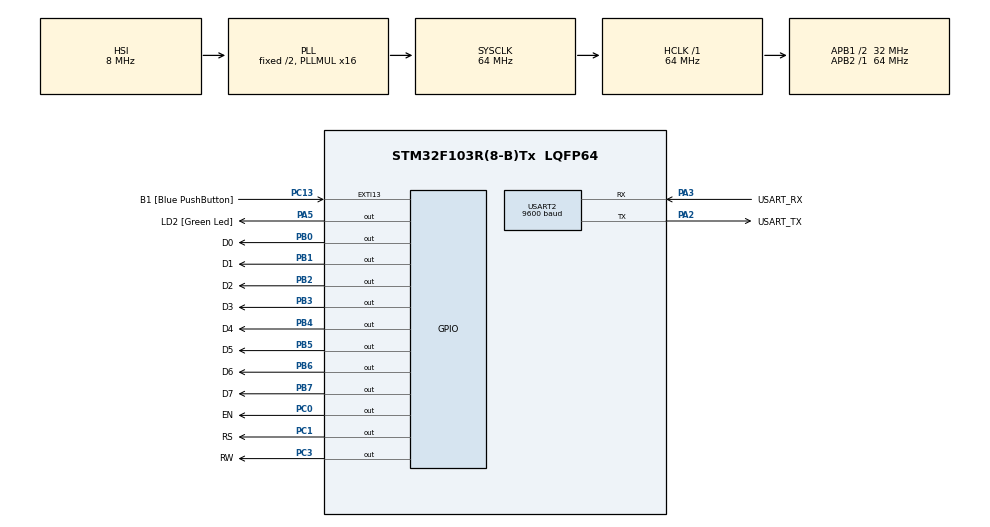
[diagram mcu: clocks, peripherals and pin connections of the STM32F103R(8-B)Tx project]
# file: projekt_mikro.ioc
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Mcu.Family=STM32F1
Mcu.Name=STM32F103R(8-B)Tx
Mcu.Package=LQFP64
NVIC.EXTI15_10_IRQn=true\:0\:0\:false\:false\:true\:true
NVIC.PriorityGroup=NVIC_PRIORITYGROUP_4
NVIC.USART2_IRQn=true\:0\:0\:false\:false\:true\:true
PA13.GPIO_Label=TMS
PA13.Mode=Serial_Wire
PA13.Signal=SYS_JTMS-SWDIO
PA14.GPIO_Label=TCK
PA14.Mode=Serial_Wire
PA14.Signal=SYS_JTCK-SWCLK
PA2.GPIO_Label=USART_TX
PA2.GPIO_Mode=GPIO_MODE_AF_PP
PA2.GPIO_PuPd=GPIO_NOPULL
PA2.GPIO_Speed=GPIO_SPEED_FREQ_LOW
PA2.Mode=Asynchronous
PA2.Signal=USART2_TX
PA3.GPIO_Label=USART_RX
PA3.GPIO_Mode=GPIO_MODE_AF_PP
PA3.GPIO_PuPd=GPIO_NOPULL
PA3.GPIO_Speed=GPIO_SPEED_FREQ_LOW
PA3.Mode=Asynchronous
PA3.Signal=USART2_RX
PA5.GPIO_Label=LD2 [Green Led]
PA5.GPIO_ModeDefaultOutputPP=GPIO_MODE_OUTPUT_PP
PA5.GPIO_PuPd=GPIO_NOPULL
PA5.GPIO_Speed=GPIO_SPEED_FREQ_LOW
PA5.Signal=GPIO_Output
PB0.GPIO_Label=D0
PB0.Signal=GPIO_Output
PB1.GPIO_Label=D1
PB1.Signal=GPIO_Output
PB2.GPIO_Label=D2
PB2.Signal=GPIO_Output
PB3.GPIO_Label=D3
PB3.GPIO_Speed=GPIO_SPEED_FREQ_HIGH
PB3.Signal=GPIO_Output
PB4.GPIO_Label=D4
PB4.GPIO_Speed=GPIO_SPEED_FREQ_HIGH
PB4.Signal=GPIO_Output
PB5.GPIO_Label=D5
PB5.GPIO_Speed=GPIO_SPEED_FREQ_HIGH
PB5.Signal=GPIO_Output
PB6.GPIO_Label=D6
PB6.GPIO_Speed=GPIO_SPEED_FREQ_HIGH
PB6.Signal=GPIO_Output
PB7.GPIO_Label=D7
PB7.Signal=GPIO_Output
PC0.GPIO_Label=EN
PC0.Signal=GPIO_Output
PC1.GPIO_Label=RS
PC1.Signal=GPIO_Output
PC13-TAMPER-RTC.GPIO_Label=B1 [Blue PushButton]
PC13-TAMPER-RTC.GPIO_PuPd=GPIO_NOPULL
PC13-TAMPER-RTC.Signal=GPXTI13
PC14-OSC32_IN.Mode=LSE-External-Oscillator
PC14-OSC32_IN.Signal=RCC_OSC32_IN
PC15-OSC32_OUT.Mode=LSE-External-Oscillator
PC15-OSC32_OUT.Signal=RCC_OSC32_OUT
PC3.GPIO_Label=RW
PC3.Signal=GPIO_Output
PD0-OSC_IN.Mode=HSE-External-Clock-Source
PD0-OSC_IN.Signal=RCC_OSC_IN
PD1-OSC_OUT.Mode=HSE-External-Clock-Source
PD1-OSC_OUT.Signal=RCC_OSC_OUT
ProjectManager.HeapSize=0x200
ProjectManager.StackSize=0x400
ProjectManager.TargetToolchain=SW4STM32
RCC.AHBFreq_Value=64000000
RCC.APB1CLKDivider=RCC_HCLK_DIV2
RCC.APB1Freq_Value=32000000
RCC.APB1TimFreq_Value=64000000
RCC.APB2Freq_Value=64000000
RCC.APB2TimFreq_Value=64000000
RCC.HCLKFreq_Value=64000000
RCC.PLLMUL=RCC_PLL_MUL16
RCC.RTCClockSelection=RCC_RTCCLKSOURCE_LSE
RCC.SYSCLKFreq_VALUE=64000000
RCC.SYSCLKSource=RCC_SYSCLKSOURCE_PLLCLK
RCC.USBFreq_Value=64000000
USART2.BaudRate=9600
USART2.VirtualMode=VM_ASYNC
board=NUCLEO-F103RB

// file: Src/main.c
/**
  ******************************************************************************
  * @file           : main.c
  * @brief          : Main program body
  ******************************************************************************
  ** This notice applies to any and all portions of this file
  * that are not between comment pairs USER CODE BEGIN and
  * USER CODE END. Other portions of this file, whether
  * inserted by the user or by software development tools
  * are owned by their respective copyright owners.
  *
  * COPYRIGHT(c) 2019 STMicroelectronics
  *
  * Redistribution and use in source and binary forms, with or without modification,
  * are permitted provided that the following conditions are met:
  *   1. Redistributions of source code must retain the above copyright notice,
  *      this list of conditions and the following disclaimer.
  *   2. Redistributions in binary form must reproduce the above copyright notice,
  *      this list of conditions and the following disclaimer in the documentation
  *      and/or other materials provided with the distribution.
  *   3. Neither the name of STMicroelectronics nor the names of its contributors
  *      may be used to endorse or promote products derived from this software
  *      without specific prior written permission.
  *
  * THIS SOFTWARE IS PROVIDED BY THE COPYRIGHT HOLDERS AND CONTRIBUTORS "AS IS"
  * AND ANY EXPRESS OR IMPLIED WARRANTIES, INCLUDING, BUT NOT LIMITED TO, THE
  * IMPLIED WARRANTIES OF MERCHANTABILITY AND FITNESS FOR A PARTICULAR PURPOSE ARE
  * DISCLAIMED. IN NO EVENT SHALL THE COPYRIGHT HOLDER OR CONTRIBUTORS BE LIABLE
  * FOR ANY DIRECT, INDIRECT, INCIDENTAL, SPECIAL, EXEMPLARY, OR CONSEQUENTIAL
  * DAMAGES (INCLUDING, BUT NOT LIMITED TO, PROCUREMENT OF SUBSTITUTE GOODS OR
  * SERVICES; LOSS OF USE, DATA, OR PROFITS; OR BUSINESS INTERRUPTION) HOWEVER
  * CAUSED AND ON ANY THEORY OF LIABILITY, WHETHER IN CONTRACT, STRICT LIABILITY,
  * OR TORT (INCLUDING NEGLIGENCE OR OTHERWISE) ARISING IN ANY WAY OUT OF THE USE
  * OF THIS SOFTWARE, EVEN IF ADVISED OF THE POSSIBILITY OF SUCH DAMAGE.
  *
  ******************************************************************************
  */
#include "main.h"
#include "stm32f1xx_hal.h"

/* USER CODE BEGIN Includes */
#include "LCD_HD44780.h"
#include <string.h>
#include <stdlib.h>
#include <stdarg.h>
/* USER CODE END Includes */

UART_HandleTypeDef huart2;

/* USER CODE BEGIN PV */
/* Private variables ---------------------------------------------------------*/

/* USER CODE END PV */

void SystemClock_Config(void);
static void MX_GPIO_Init(void);
static void MX_USART2_UART_Init(void);

/* USER CODE BEGIN PFP */
/* Private function prototypes -----------------------------------------------*/
extern uint32_t SystemCoreClock;

void DWT_Init(void) {
	if (!(CoreDebug->DEMCR & CoreDebug_DEMCR_TRCENA_Msk)) {
		CoreDebug->DEMCR |= CoreDebug_DEMCR_TRCENA_Msk;
		DWT->CYCCNT = 0;
		DWT->CTRL |= DWT_CTRL_CYCCNTENA_Msk;
	}
}

uint32_t DWT_Get(void) {
	return DWT->CYCCNT;
}

__inline uint8_t DWT_Compare(int32_t tp) {
	return (((int32_t) DWT_Get() - tp) < 0);
}

void DWT_Delay(uint32_t us) // microseconds
{
	int32_t tp = DWT_Get() + us * (SystemCoreClock / 1000000);
	while (DWT_Compare(tp))
		;
}

unsigned char crc8(unsigned char poly, unsigned char* data, int size) {
	unsigned char crc = 0x00;
	int bit;

	while (size--) {
		crc ^= *data++;
		for (bit = 0; bit < 8; bit++) {
			if (crc & 0x80) {
				crc = (crc << 1) ^ poly;
			} else {
				crc <<= 1;
			}
		}
	}
	return crc;
}
/* USER CODE END PFP */

/* USER CODE BEGIN 0 */
#define BUF_SIZE 256
volatile uint8_t Buf_Rx[BUF_SIZE];
volatile uint8_t Buf_Tx[BUF_SIZE];
volatile uint8_t Busy_Rx = 0, Empty_Rx = 0, Busy_Tx = 0, Empty_Tx = 0;
volatile uint8_t temp = 0;
volatile uint8_t endFrameDetected = 0;

void HAL_UART_RxCpltCallback(UART_HandleTypeDef *huart) {
	if (huart->Instance == USART2) {
		Empty_Rx++;
		if (Buf_Rx[Empty_Rx - 1] == '_')
			endFrameDetected = 1;
		if (Empty_Rx >= BUF_SIZE) {
			Empty_Rx = 0;
		}
	}
	HAL_UART_Receive_IT(&huart2, &Buf_Rx[Empty_Rx], 1);
}

void HAL_UART_TxCpltCallback(UART_HandleTypeDef *huart) {
	if (huart->Instance == USART2) {
		if (Busy_Tx != Empty_Tx) {
			temp = Buf_Tx[Busy_Tx];
			Busy_Tx++;
			if (Busy_Tx >= BUF_SIZE)
				Busy_Tx = 0;
			HAL_UART_Transmit_IT(&huart2, &temp, 1);
		}
	}
}

void frameDecoder() {
	char frameBuffer[255];
	char frame[127];
	char escapedFrame[127];
	uint8_t i = 0;
	while (Busy_Rx != Empty_Rx) {
		frameBuffer[i++] = Buf_Rx[Busy_Rx++];
		if (Busy_Rx >= BUF_SIZE) {
			if (Busy_Rx == Empty_Rx) {
				Busy_Rx = 0;
				Empty_Rx = 0;
			} else {
				Busy_Rx = 0;
			}
		}
	}
	//obcinanie pocz¹tku
	uint8_t k = 0;
	uint8_t startDetected = 0;
	for (uint8_t j = 0; j < i; j++) {
		if (frameBuffer[j] == '^') {
			startDetected = 1;
			k = 0;
		} else if (startDetected == 1) {
			frame[k++] = frameBuffer[j];
		}
	}
	if (startDetected != 0) {
		//deescapowanie ramki
		uint8_t m = 0;
		uint8_t escapeFlag = 0;
		for (uint8_t l = 0; l < k; l++) {
			if (frame[l] == 0x5C) {
				escapeFlag = 1;
			} else if (escapeFlag == 0) {
				escapedFrame[m++] = frame[l];
			} else {
				escapeFlag = 0;
				escapedFrame[m++] = frame[l] ^ 0x20;
			}
		}
		escapedFrame[m - 1] = '\0';

		if (m > 4 && m < 126) {
			uint8_t adresn = escapedFrame[0];
			uint8_t adreso = escapedFrame[1];
			uint8_t checksum = escapedFrame[m - 2];

			char dane[127];
			uint8_t n = 0;
			for (uint8_t o = 2; o < m - 2; o++) {
				dane[n++] = escapedFrame[o];
			}
			dane[n] = '\0';

			//sprawdzamy adres
			if (adreso == MY_ADDRESS) {
				//if(checksum==crc8(0x83,escapedFrame,m-2)){
				execute(dane, n, adresn);
				//}
				//else sendFrame(adresn,"wrong checksum",14);
			}
		}
	}
}

void execute(char *indata, uint8_t len, uint8_t adres) {
	unsigned int arga, argb;
	char str[110];
	uint8_t chardata[9];
	if (strncmp("cursoron", indata, 8) == 0) {
		LCD_Cursor(1);
		sendFrame(adres, "OK", 2);
	} else if (strncmp("cursoroff", indata, 9) == 0) {
		LCD_Cursor(0);
		sendFrame(adres, "OK", 2);
	} else if (strncmp("blinkon", indata, 7) == 0) {
		LCD_Blink(1);
		sendFrame(adres, "OK", 2);
	} else if (strncmp("blinkoff", indata, 8) == 0) {
		LCD_Blink(0);
		sendFrame(adres, "OK", 2);
	} else if (strncmp("cls", indata, 3) == 0) {
		LCD_Cls();
		sendFrame(adres, "OK", 2);
	} else if (strncmp("home", indata, 4) == 0) {
		LCD_Home();
		sendFrame(adres, "OK", 2);
	} else if (sscanf(indata, "setcursor:%u:%u", &arga, &argb)) {
		if (arga < LCD_X && argb < LCD_Y) {
			LCD_Locate((uint8_t) arga, (uint8_t) argb);
			sendFrame(adres, "OK", 2);
		} else {
			sendFrame(adres, "wrong argument", 14);
		}
	} else if (sscanf(indata, "printxy:%u:%u:%s", &arga, &argb, str)) {
		if (arga < LCD_X && argb < LCD_Y) {
			LCD_Locate((uint8_t) arga, (uint8_t) argb);
			LCD_String(str);
			sendFrame(adres, "OK", 2);
		} else {
			sendFrame(adres, "wrong argument", 14);
		}
	} else if (sscanf(indata, "define:%u:", &arga)) {
		if (arga >= 0 && arga < 8 && len == 17) {
			LCD_DefChar(arga, indata + 9);
			LCD_Locate(0, 0);
			sendFrame(adres, "OK", 2);
		} else
			sendFrame(adres, "wrong argument", 14);
	} else if (sscanf(indata, "write:%u", &arga)) {
		if (arga >= 0 && arga < 8) {
			LCD_Char(arga);
			sendFrame(adres, "OK", 2);
		} else
			sendFrame(adres, "wrong argument", 14);
	} else if (sscanf(indata, "read:%u", &arga)) {
		if (arga >= 0 && arga < 8) {
			LCD_ReadChar(arga, chardata);
			sendFrame(adres, chardata, 8);
			LCD_Locate(0,0);
		} else
			sendFrame(adres, "wrong argument", 14);
	} else if (strncmp("print:", indata, 6) == 0) {
		if (len > 6) {
			LCD_String(indata + 6);
			sendFrame(adres, "OK", 2);
		} else
			sendFrame(adres, "wrong argument", 14);
	} else {
		sendFrame(adres, "unknown command", 15);
	}
}

void sendFrame(uint8_t adres, uint8_t *senddata, uint8_t length) {
	uint8_t frame[128];
	frame[0] = MY_ADDRESS;
	frame[1] = adres;
	uint8_t i;
	for (i = 0; i < length; i++) {
		frame[i + 2] = senddata[i];
	}
	frame[length + 2] = crc8(0x83, frame, length + 2); //crc

	uint8_t escapedFrame[128]; //escapujemy
	uint8_t m = 1;
	escapedFrame[0] = '^';
	for (uint8_t l = 0; l < length + 3; l++) {
		if (frame[l] == 0x5C || frame[l] == 0x5E || frame[l] == 0x5F) {
			escapedFrame[m++] = 0x5C;
			escapedFrame[m++] = frame[l] ^ 0x20;
		} else {
			escapedFrame[m++] = frame[l];
		}
	}
	escapedFrame[m] = '_';

	uint8_t idx = Empty_Tx; //wrzucamy ramkê do bufora wyjœciowego
	for (int i = 0; i < m + 1; i++) {
		Buf_Tx[idx] = escapedFrame[i];
		idx++;
		if (idx > 255) {
			idx = 0;
		}
	}
	__disable_irq();

	if (Busy_Tx == Empty_Tx
			&& __HAL_UART_GET_FLAG(&huart2, UART_FLAG_TXE) == SET) {
		Empty_Tx = idx;
		temp = Buf_Tx[Busy_Tx];
		Busy_Tx++;
		if (Busy_Tx > 255) {
			Busy_Tx = 0;
		}
		HAL_UART_Transmit_IT(&huart2, &temp, 1); //transmitujemy pierwszy bajt
	} else {
		Empty_Tx = idx;
	}
	__enable_irq();
}

/* USER CODE END 0 */

int main(void)
{

  /* MCU Configuration----------------------------------------------------------*/

  /* Reset of all peripherals, Initializes the Flash interface and the Systick. */
  HAL_Init();

  /* Configure the system clock */
  SystemClock_Config();

  /* Initialize all configured peripherals */
  MX_GPIO_Init();
  MX_USART2_UART_Init();
  /* USER CODE BEGIN 2 */
	//sendFrame(0x62, "RESET", 5);
	HAL_UART_Receive_IT(&huart2, &Buf_Rx[Empty_Rx], 1);

	LCD_Init();
	LCD_Locate(0, 0);
	LCD_String("Mateusz Tokarczyk");
	LCD_Locate(9, 3);
	LCD_String("Grupa 7 IST");

  /* USER CODE END 2 */

  /* Infinite loop */
  /* USER CODE BEGIN WHILE */
	while (1) {
		if (endFrameDetected) {
			endFrameDetected = 0;
			frameDecoder();
		}
  /* USER CODE END WHILE */

	}

}

void SystemClock_Config(void)
{

  RCC_OscInitTypeDef RCC_OscInitStruct;
  RCC_ClkInitTypeDef RCC_ClkInitStruct;

    /**Initializes the CPU, AHB and APB busses clocks
    */
  RCC_OscInitStruct.OscillatorType = RCC_OSCILLATORTYPE_HSI;
  RCC_OscInitStruct.HSIState = RCC_HSI_ON;
  RCC_OscInitStruct.HSICalibrationValue = 16;
  RCC_OscInitStruct.PLL.PLLState = RCC_PLL_ON;
  RCC_OscInitStruct.PLL.PLLSource = RCC_PLLSOURCE_HSI_DIV2;
  RCC_OscInitStruct.PLL.PLLMUL = RCC_PLL_MUL16;
  if (HAL_RCC_OscConfig(&RCC_OscInitStruct) != HAL_OK)
  {
    _Error_Handler(__FILE__, __LINE__);
  }

    /**Initializes the CPU, AHB and APB busses clocks
    */
  RCC_ClkInitStruct.ClockType = RCC_CLOCKTYPE_HCLK|RCC_CLOCKTYPE_SYSCLK
                              |RCC_CLOCKTYPE_PCLK1|RCC_CLOCKTYPE_PCLK2;
  RCC_ClkInitStruct.SYSCLKSource = RCC_SYSCLKSOURCE_PLLCLK;
  RCC_ClkInitStruct.AHBCLKDivider = RCC_SYSCLK_DIV1;
  RCC_ClkInitStruct.APB1CLKDivider = RCC_HCLK_DIV2;
  RCC_ClkInitStruct.APB2CLKDivider = RCC_HCLK_DIV1;

  if (HAL_RCC_ClockConfig(&RCC_ClkInitStruct, FLASH_LATENCY_2) != HAL_OK)
  {
    _Error_Handler(__FILE__, __LINE__);
  }

    /**Configure the Systick interrupt time
    */
  HAL_SYSTICK_Config(HAL_RCC_GetHCLKFreq()/1000);

    /**Configure the Systick
    */
  HAL_SYSTICK_CLKSourceConfig(SYSTICK_CLKSOURCE_HCLK);

  /* SysTick_IRQn interrupt configuration */
  HAL_NVIC_SetPriority(SysTick_IRQn, 0, 0);
}

/* USART2 init function */
static void MX_USART2_UART_Init(void)
{

  huart2.Instance = USART2;
  huart2.Init.BaudRate = 9600;
  huart2.Init.WordLength = UART_WORDLENGTH_8B;
  huart2.Init.StopBits = UART_STOPBITS_1;
  huart2.Init.Parity = UART_PARITY_NONE;
  huart2.Init.Mode = UART_MODE_TX_RX;
  huart2.Init.HwFlowCtl = UART_HWCONTROL_NONE;
  huart2.Init.OverSampling = UART_OVERSAMPLING_16;
  if (HAL_UART_Init(&huart2) != HAL_OK)
  {
    _Error_Handler(__FILE__, __LINE__);
  }

}

/** Configure pins as
        * Analog
        * Input
        * Output
        * EVENT_OUT
        * EXTI
*/
static void MX_GPIO_Init(void)
{

  GPIO_InitTypeDef GPIO_InitStruct;

  /* GPIO Ports Clock Enable */
  __HAL_RCC_GPIOC_CLK_ENABLE();
  __HAL_RCC_GPIOD_CLK_ENABLE();
  __HAL_RCC_GPIOA_CLK_ENABLE();
  __HAL_RCC_GPIOB_CLK_ENABLE();

  /*Configure GPIO pin Output Level */
  HAL_GPIO_WritePin(GPIOC, EN_Pin|RS_Pin|RW_Pin, GPIO_PIN_RESET);

  /*Configure GPIO pin Output Level */
  HAL_GPIO_WritePin(LD2_GPIO_Port, LD2_Pin, GPIO_PIN_RESET);

  /*Configure GPIO pin Output Level */
  HAL_GPIO_WritePin(GPIOB, D0_Pin|D1_Pin|D2_Pin|D3_Pin
                          |D4_Pin|D5_Pin|D6_Pin|D7_Pin, GPIO_PIN_RESET);

  /*Configure GPIO pin : B1_Pin */
  GPIO_InitStruct.Pin = B1_Pin;
  GPIO_InitStruct.Mode = GPIO_MODE_IT_RISING;
  GPIO_InitStruct.Pull = GPIO_NOPULL;
  HAL_GPIO_Init(B1_GPIO_Port, &GPIO_InitStruct);

  /*Configure GPIO pins : EN_Pin RS_Pin RW_Pin */
  GPIO_InitStruct.Pin = EN_Pin|RS_Pin|RW_Pin;
  GPIO_InitStruct.Mode = GPIO_MODE_OUTPUT_PP;
  GPIO_InitStruct.Pull = GPIO_NOPULL;
  GPIO_InitStruct.Speed = GPIO_SPEED_FREQ_LOW;
  HAL_GPIO_Init(GPIOC, &GPIO_InitStruct);

  /*Configure GPIO pin : LD2_Pin */
  GPIO_InitStruct.Pin = LD2_Pin;
  GPIO_InitStruct.Mode = GPIO_MODE_OUTPUT_PP;
  GPIO_InitStruct.Pull = GPIO_NOPULL;
  GPIO_InitStruct.Speed = GPIO_SPEED_FREQ_LOW;
  HAL_GPIO_Init(LD2_GPIO_Port, &GPIO_InitStruct);

  /*Configure GPIO pins : D0_Pin D1_Pin D2_Pin D7_Pin */
  GPIO_InitStruct.Pin = D0_Pin|D1_Pin|D2_Pin|D7_Pin;
  GPIO_InitStruct.Mode = GPIO_MODE_OUTPUT_PP;
  GPIO_InitStruct.Pull = GPIO_NOPULL;
  GPIO_InitStruct.Speed = GPIO_SPEED_FREQ_LOW;
  HAL_GPIO_Init(GPIOB, &GPIO_InitStruct);

  /*Configure GPIO pins : D3_Pin D4_Pin D5_Pin D6_Pin */
  GPIO_InitStruct.Pin = D3_Pin|D4_Pin|D5_Pin|D6_Pin;
  GPIO_InitStruct.Mode = GPIO_MODE_OUTPUT_PP;
  GPIO_InitStruct.Pull = GPIO_NOPULL;
  GPIO_InitStruct.Speed = GPIO_SPEED_FREQ_HIGH;
  HAL_GPIO_Init(GPIOB, &GPIO_InitStruct);

  /* EXTI interrupt init*/
  HAL_NVIC_SetPriority(EXTI15_10_IRQn, 0, 0);
  HAL_NVIC_EnableIRQ(EXTI15_10_IRQn);

}

void _Error_Handler(char *file, int line)
{
	while (1) {
	}
}

/************************ (C) COPYRIGHT STMicroelectronics *****END OF FILE****/
